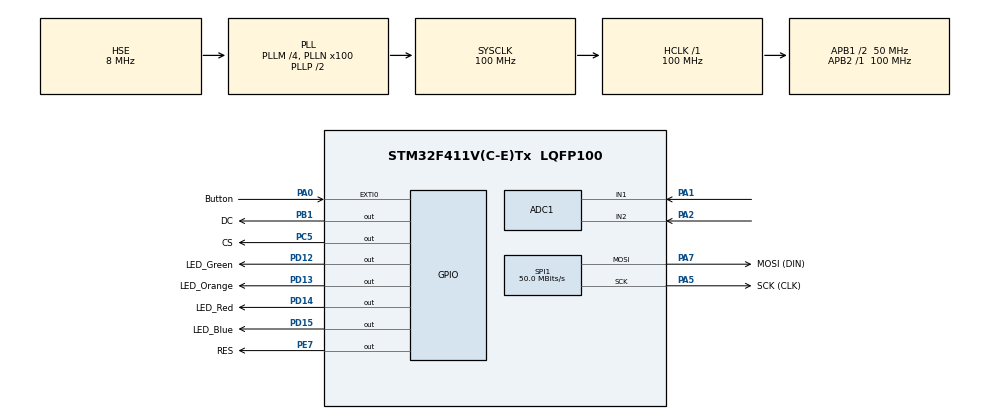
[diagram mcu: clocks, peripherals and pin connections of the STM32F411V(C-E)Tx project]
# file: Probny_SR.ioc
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ADC1.Channel-0\#ChannelRegularConversion=ADC_CHANNEL_1
ADC1.Channel-1\#ChannelRegularConversion=ADC_CHANNEL_2
ADC1.ContinuousConvMode=ENABLE
ADC1.DMAContinuousRequests=ENABLE
ADC1.NbrOfConversion=2
ADC1.NbrOfConversionFlag=1
ADC1.Rank-0\#ChannelRegularConversion=1
ADC1.Rank-1\#ChannelRegularConversion=2
ADC1.SamplingTime-0\#ChannelRegularConversion=ADC_SAMPLETIME_480CYCLES
ADC1.SamplingTime-1\#ChannelRegularConversion=ADC_SAMPLETIME_480CYCLES
ADC1.ScanConvMode=ENABLE
ADC1.master=1
Dma.ADC1.0.Direction=DMA_PERIPH_TO_MEMORY
Dma.ADC1.0.FIFOMode=DMA_FIFOMODE_DISABLE
Dma.ADC1.0.Instance=DMA2_Stream0
Dma.ADC1.0.MemDataAlignment=DMA_MDATAALIGN_HALFWORD
Dma.ADC1.0.MemInc=DMA_MINC_ENABLE
Dma.ADC1.0.Mode=DMA_CIRCULAR
Dma.ADC1.0.PeriphDataAlignment=DMA_PDATAALIGN_HALFWORD
Dma.ADC1.0.PeriphInc=DMA_PINC_DISABLE
Dma.ADC1.0.Priority=DMA_PRIORITY_LOW
Dma.Request0=ADC1
Mcu.Family=STM32F4
Mcu.Name=STM32F411V(C-E)Tx
Mcu.Package=LQFP100
NVIC.DMA2_Stream0_IRQn=true\:0\:0\:false\:false\:true\:false\:true
NVIC.EXTI0_IRQn=true\:0\:0\:false\:false\:true\:true\:true
NVIC.PriorityGroup=NVIC_PRIORITYGROUP_4
PA0-WKUP.GPIO_Label=Button
PA0-WKUP.Signal=GPXTI0
PA1.Signal=ADCx_IN1
PA2.Signal=ADCx_IN2
PA5.GPIO_Label=SCK (CLK)
PA5.Mode=TX_Only_Simplex_Unidirect_Master
PA5.Signal=SPI1_SCK
PA7.GPIO_Label=MOSI (DIN)
PA7.Mode=TX_Only_Simplex_Unidirect_Master
PA7.Signal=SPI1_MOSI
PB1.GPIO_Label=DC
PB1.Signal=GPIO_Output
PC5.GPIO_Label=CS
PC5.Signal=GPIO_Output
PD12.GPIO_Label=LED_Green
PD12.Signal=GPIO_Output
PD13.GPIO_Label=LED_Orange
PD13.Signal=GPIO_Output
PD14.GPIO_Label=LED_Red
PD14.Signal=GPIO_Output
PD15.GPIO_Label=LED_Blue
PD15.Signal=GPIO_Output
PE7.GPIO_Label=RES
PE7.Signal=GPIO_Output
PH0\ -\ OSC_IN.Mode=HSE-External-Oscillator
PH0\ -\ OSC_IN.Signal=RCC_OSC_IN
PH1\ -\ OSC_OUT.Mode=HSE-External-Oscillator
PH1\ -\ OSC_OUT.Signal=RCC_OSC_OUT
ProjectManager.HeapSize=0x200
ProjectManager.StackSize=0x400
ProjectManager.TargetToolchain=STM32CubeIDE
RCC.48MHZClocksFreq_Value=50000000
RCC.AHBFreq_Value=100000000
RCC.APB1CLKDivider=RCC_HCLK_DIV2
RCC.APB1Freq_Value=50000000
RCC.APB1TimFreq_Value=100000000
RCC.APB2Freq_Value=100000000
RCC.APB2TimFreq_Value=100000000
RCC.CortexFreq_Value=100000000
RCC.HCLKFreq_Value=100000000
RCC.HSE_VALUE=8000000
RCC.HSI_VALUE=16000000
RCC.LSE_VALUE=32768
RCC.PLLM=4
RCC.PLLN=100
RCC.PLLSourceVirtual=RCC_PLLSOURCE_HSE
RCC.SYSCLKFreq_VALUE=100000000
RCC.SYSCLKSource=RCC_SYSCLKSOURCE_PLLCLK
RCC.VCOOutputFreq_Value=200000000
SH.ADCx_IN1.0=ADC1_IN1,IN1
SH.ADCx_IN2.0=ADC1_IN2,IN2
SPI1.CLKPhase=SPI_PHASE_2EDGE
SPI1.CLKPolarity=SPI_POLARITY_HIGH
SPI1.CalculateBaudRate=50.0 MBits/s
SPI1.Direction=SPI_DIRECTION_2LINES
SPI1.Mode=SPI_MODE_MASTER
SPI1.VirtualType=VM_MASTER
board=custom

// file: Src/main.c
/* USER CODE BEGIN Header */
/**
  ******************************************************************************
  * @file           : main.c
  * @brief          : Main program body
  ******************************************************************************
  * @attention
  *
  * <h2><center>&copy; Copyright (c) 2020 STMicroelectronics.
  * All rights reserved.</center></h2>
  *
  * This software component is licensed by ST under BSD 3-Clause license,
  * the "License"; You may not use this file except in compliance with the
  * License. You may obtain a copy of the License at:
  *                        opensource.org/licenses/BSD-3-Clause
  *
  ******************************************************************************
  */

/* USER CODE END Header */

#include "main.h"
#include "adc.h"
#include "dma.h"
#include "spi.h"
#include "gpio.h"

/* USER CODE BEGIN Includes */
#include "SSD1331.h"//biblioteka wyswietlacza OLED
#include <stdio.h>
#include <stdlib.h>
#include "snake.h"//plik ze strukturami i prototypami funkcji weza
/* USER CODE END Includes */

/* USER CODE BEGIN PV */
uint16_t Joystick[2];//Joystick[0]->Os Y, Joystick[1]->Os X
const uint16_t Thresholdup = 4000;//Gorny prog przetwornika
const uint8_t Thresholddown = 100;//Dolny prog przetwornika
/* USER CODE END PV */

void SystemClock_Config(void);
/* USER CODE BEGIN PFP */
//Funkcja inicjalizujaca ekran startowy gry
void initPlay(void)
{		ssd1331_init();
    	ssd1331_clear_screen(GREEN_BACKGROUND);
    	ssd1331_display_string(20, 0, "Sssnake", FONT_1608, GREEN);
    	ssd1331_draw_circle(37,23,SNAKE_RAD, GREEN_SNAKE);
    	ssd1331_draw_circle(41,23,SNAKE_RAD, GREEN_SNAKE);
    	ssd1331_draw_circle(45,23,SNAKE_RAD, GREEN_SNAKE);
    	ssd1331_draw_circle(49,23,SNAKE_RAD, GREEN_SNAKE);
    	ssd1331_draw_circle(53,23,SNAKE_RAD, GREEN_SNAKE);
    	ssd1331_draw_circle(57,23,SNAKE_RAD, GREEN_SNAKE);
    	ssd1331_draw_circle(57,27,SNAKE_RAD, GREEN_SNAKE);
    	ssd1331_draw_circle(57,31,SNAKE_RAD, GREEN_SNAKE);
    	ssd1331_draw_circle(57,35,SNAKE_RAD, GREEN_SNAKE);
    	ssd1331_draw_circle(53,35,SNAKE_RAD, GREEN_SNAKE);
    	ssd1331_draw_circle(49,35,SNAKE_RAD, YELLOW);
    	ssd1331_draw_circle(37,35,SNAKE_RAD, RED);
        ssd1331_display_string(20, 39, "Click blue", FONT_1206, GREEN);
        ssd1331_display_string(5, 51, "button to play", FONT_1206, GREEN);
}
//Funkcja wykorzystujaca przerwanie od przycisku na plytce do inicjalizacji weza na ekranie
void HAL_GPIO_EXTI_Callback(uint16_t GPIO_Pin)
{
	if(GPIO_Pin == Button_Pin)
	{
		ssd1331_clear_screen(BLACK);
		initSnake();
	}

}
/* USER CODE END PFP */

int main(void)
{

  /* MCU Configuration--------------------------------------------------------*/

  /* Reset of all peripherals, Initializes the Flash interface and the Systick. */
  HAL_Init();

  /* Configure the system clock */
  SystemClock_Config();

  /* Initialize all configured peripherals */
  MX_GPIO_Init();
  MX_DMA_Init();
  MX_SPI1_Init();
  MX_ADC1_Init();
  /* USER CODE BEGIN 2 */

  //Uruchomienie przetwornika w trybie DMA
     HAL_ADC_Start_DMA(&hadc1, (uint32_t*)Joystick, 2);//Rzutowanie na 32-bitowego inta, aby nie było warninga
     //inicjalizacja wyswietlacza
     initPlay();

  /* USER CODE END 2 */

  /* Infinite loop */
  /* USER CODE BEGIN WHILE */
  while (1)
  {
	  //Jesli joystick do gory
	  if(Joystick[0]>Thresholdup)
	  {
		  for(;;)
		  {
	  		 MoveSnake(up);//jedz do gory
	  		 HAL_Delay(200);
	  		 if(Joystick[0]<Thresholddown||Joystick[1]>Thresholdup||Joystick[1]<Thresholddown) break;
		  }
	  }
		//Joystic wychylony w dol
	  else if(Joystick[0]<Thresholddown)
	  	{
	  	  for(;;)
	  	  {
	  	  	  MoveSnake(down);//zawroc w dol
	  	  	  HAL_Delay(200);
	  	  	  if(Joystick[0]>Thresholdup||Joystick[1]>Thresholdup||Joystick[1]<Thresholddown) break;
	  	  }
	  	 }//Joystic wychylony w prawo
	  	else if(Joystick[1]>Thresholdup)
	  	 {
	  	  	 for(;;)
	  	  	  {
	  	  		 MoveSnake(right);//skrec w prawo
	  	  		 HAL_Delay(200);
	  	  		 if(Joystick[0]>Thresholdup||Joystick[0]<Thresholddown||Joystick[1]<Thresholddown) break;
	  	  	  }
	  	  }//Joystic wychylony w lewo
	  	 else if(Joystick[1]<Thresholddown)
	  	  {
	  		  for(;;)
	  	  		{
	  	  	  		MoveSnake(left);//skrec w lewo
	  	  	  		HAL_Delay(200);
	  	  	  		if(Joystick[0]>Thresholdup||Joystick[0]<Thresholddown||Joystick[1]>Thresholdup) break;
	  	  		}
	  	   }

   /* USER CODE END WHILE */

  }
}

void SystemClock_Config(void)
{
  RCC_OscInitTypeDef RCC_OscInitStruct = {0};
  RCC_ClkInitTypeDef RCC_ClkInitStruct = {0};

  /** Configure the main internal regulator output voltage
  */
  __HAL_RCC_PWR_CLK_ENABLE();
  __HAL_PWR_VOLTAGESCALING_CONFIG(PWR_REGULATOR_VOLTAGE_SCALE1);
  /** Initializes the CPU, AHB and APB busses clocks
  */
  RCC_OscInitStruct.OscillatorType = RCC_OSCILLATORTYPE_HSE;
  RCC_OscInitStruct.HSEState = RCC_HSE_ON;
  RCC_OscInitStruct.PLL.PLLState = RCC_PLL_ON;
  RCC_OscInitStruct.PLL.PLLSource = RCC_PLLSOURCE_HSE;
  RCC_OscInitStruct.PLL.PLLM = 4;
  RCC_OscInitStruct.PLL.PLLN = 100;
  RCC_OscInitStruct.PLL.PLLP = RCC_PLLP_DIV2;
  RCC_OscInitStruct.PLL.PLLQ = 4;
  if (HAL_RCC_OscConfig(&RCC_OscInitStruct) != HAL_OK)
  {
    Error_Handler();
  }
  /** Initializes the CPU, AHB and APB busses clocks
  */
  RCC_ClkInitStruct.ClockType = RCC_CLOCKTYPE_HCLK|RCC_CLOCKTYPE_SYSCLK
                              |RCC_CLOCKTYPE_PCLK1|RCC_CLOCKTYPE_PCLK2;
  RCC_ClkInitStruct.SYSCLKSource = RCC_SYSCLKSOURCE_PLLCLK;
  RCC_ClkInitStruct.AHBCLKDivider = RCC_SYSCLK_DIV1;
  RCC_ClkInitStruct.APB1CLKDivider = RCC_HCLK_DIV2;
  RCC_ClkInitStruct.APB2CLKDivider = RCC_HCLK_DIV1;

  if (HAL_RCC_ClockConfig(&RCC_ClkInitStruct, FLASH_LATENCY_3) != HAL_OK)
  {
    Error_Handler();
  }
}

void Error_Handler(void)
{
}

/************************ (C) COPYRIGHT STMicroelectronics *****END OF FILE****/
